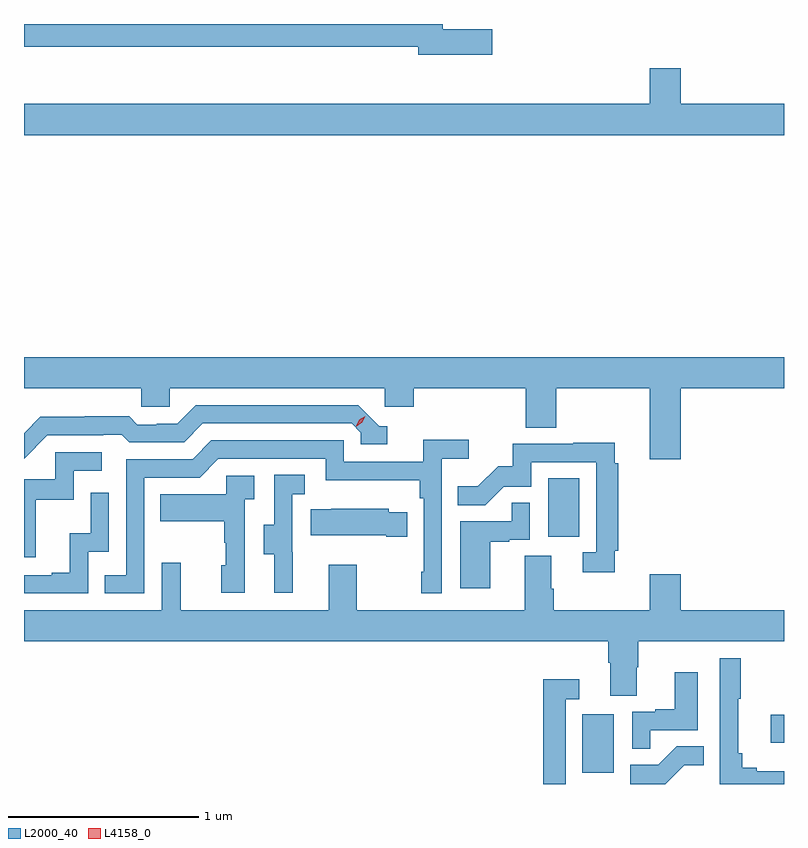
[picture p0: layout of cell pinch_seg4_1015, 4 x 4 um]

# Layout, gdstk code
import gdstk
lib = gdstk.Library(unit=1e-6, precision=1e-09)
def R(c, l, rs):  # rectangles x0, y0, x1, y1
    for r in rs: c.add(gdstk.rectangle(r[:2], r[2:], *l))
def P(c, l, *ps):  # polygons
    for p in ps: c.add(gdstk.Polygon(p, *l))
L2000_40 = (2000, 40)
L4158_0 = (4158, 0)

pinch_seg4_1015 = lib.new_cell('pinch_seg4_1015')
R(pinch_seg4_1015, L2000_40, [(823.994,778.812,824.158,779.119), (824.985,778.97,825.055,779.118), (823.814,780.054,823.978,780.361)])
P(pinch_seg4_1015, L2000_40, [(823.519,782.726),(823.258,782.726),(823.258,782.753),(821.055,782.753),(821.055,782.634),(823.13,782.634),(823.13,782.591),(823.519,782.591)],
  [(825.055,782.332),(824.512,782.332),(824.512,782.521),(824.348,782.521),(824.348,782.332),(821.055,782.332),(821.055,782.168),(825.055,782.168)],
  [(824.512,780.836),(825.055,780.836),(825.055,781),(821.055,781),(821.055,780.836),(821.673,780.836),(821.673,780.738),(821.823,780.738),(821.823,780.836),(822.954,780.836),(822.954,780.738),(823.106,780.738),(823.106,780.836),(823.697,780.836),(823.697,780.628),(823.857,780.628),(823.857,780.836),(824.348,780.836),(824.348,780.462),(824.512,780.462)],
  [(821.178,780.588),(821.471,780.588),(821.471,780.591),(821.57,780.591),(821.609,780.552),(821.898,780.552),(821.997,780.651),(822.78,780.651),(822.828,780.603),(822.828,780.54),(822.967,780.54),(822.967,780.636),(822.924,780.636),(822.813,780.747),(821.96,780.747),(821.861,780.648),(821.754,780.648),(821.754,780.645),(821.651,780.645),(821.609,780.688),(821.376,780.688),(821.376,780.685),(821.14,780.685),(821.055,780.6),(821.055,780.465)],
  [(821.688,780.366),(821.979,780.366),(822.078,780.465),(822.642,780.465),(822.642,780.353),(823.138,780.353),(823.138,780.257),(823.158,780.257),(823.158,779.869),(823.146,779.869),(823.146,779.757),(823.254,779.757),(823.254,780.464),(823.396,780.464),(823.396,780.566),(823.157,780.566),(823.157,780.45),(822.738,780.45),(822.738,780.561),(822.041,780.561),(821.942,780.462),(821.592,780.462),(821.592,779.853),(821.479,779.853),(821.479,779.757),(821.688,779.757)],
  [(824.165,779.98),(824.183,779.98),(824.183,780.44),(824.165,780.44),(824.165,780.548),(823.945,780.548),(823.945,780.543),(823.627,780.543),(823.627,780.426),(823.55,780.426),(823.443,780.319),(823.339,780.319),(823.339,780.22),(823.483,780.22),(823.581,780.318),(823.725,780.318),(823.725,780.447),(824.067,780.447),(824.067,779.973),(823.995,779.973),(823.995,779.868),(824.165,779.868)],
  [(821.117,780.249),(821.316,780.249),(821.316,780.402),(821.464,780.402),(821.464,780.498),(821.22,780.498),(821.22,780.357),(821.055,780.357),(821.055,779.946),(821.117,779.946)],
  [(822.47,779.973),(822.468,779.973),(822.468,780.277),(822.532,780.277),(822.532,780.38),(822.372,780.38),(822.372,780.117),(822.317,780.117),(822.317,779.962),(822.371,779.962),(822.371,779.76),(822.47,779.76)],
  [(822.216,780.251),(822.268,780.251),(822.268,780.375),(822.12,780.375),(822.12,780.277),(821.773,780.277),(821.773,780.137),(822.108,780.137),(822.108,780.023),(822.118,780.023),(822.118,779.904),(822.092,779.904),(822.092,779.76),(822.216,779.76)],
  [(821.394,779.976),(821.502,779.976),(821.502,780.286),(821.406,780.286),(821.406,780.074),(821.297,780.074),(821.297,779.866),(821.201,779.866),(821.201,779.853),(821.055,779.853),(821.055,779.757),(821.394,779.757)],
  [(823.51,780.027),(823.61,780.027),(823.61,780.039),(823.716,780.039),(823.716,780.233),(823.621,780.233),(823.621,780.135),(823.352,780.135),(823.352,779.784),(823.51,779.784)],
  [(823.073,780.184),(822.975,780.184),(822.975,780.202),(822.673,780.202),(822.673,780.199),(822.565,780.199),(822.565,780.062),(822.962,780.062),(822.962,780.055),(823.073,780.055)],
  [(824.281,779.367),(824.289,779.367),(824.289,779.504),(825.055,779.504),(825.055,779.668),(824.512,779.668),(824.512,779.857),(824.348,779.857),(824.348,779.668),(823.844,779.668),(823.844,779.78),(823.831,779.78),(823.831,779.954),(823.691,779.954),(823.691,779.668),(822.807,779.668),(822.807,779.908),(822.659,779.908),(822.659,779.668),(821.879,779.668),(821.879,779.917),(821.781,779.917),(821.781,779.668),(821.055,779.668),(821.055,779.504),(824.129,779.504),(824.129,779.392),(824.141,779.392),(824.141,779.218),(824.281,779.218)],
  [(825.055,778.819),(824.911,778.819),(824.911,778.838),(824.834,778.838),(824.834,778.915),(824.815,778.915),(824.815,779.203),(824.827,779.203),(824.827,779.416),(824.718,779.416),(824.718,778.753),(825.055,778.753)],
  [(824.351,779.037),(824.602,779.037),(824.602,779.341),(824.48,779.341),(824.48,779.146),(824.377,779.146),(824.377,779.133),(824.256,779.133),(824.256,778.939),(824.351,778.939)],
  [(823.905,779.199),(823.978,779.199),(823.978,779.305),(823.789,779.305),(823.789,778.753),(823.905,778.753)],
  [(824.529,778.853),(824.633,778.853),(824.633,778.952),(824.49,778.952),(824.392,778.854),(824.247,778.854),(824.247,778.753),(824.429,778.753)])
P(pinch_seg4_1015, L4158_0, [(822.804,780.636),(822.804,780.637),(822.82,780.669),(822.851,780.689),(822.851,780.689),(822.851,780.689),(822.835,780.656),(822.805,780.636)])

lib.write_gds('pinch_seg4_1015.gds')
